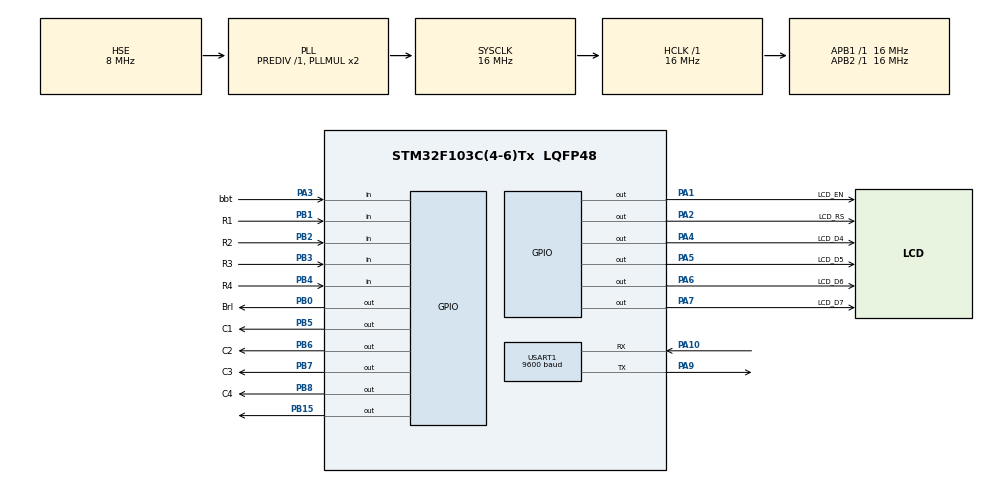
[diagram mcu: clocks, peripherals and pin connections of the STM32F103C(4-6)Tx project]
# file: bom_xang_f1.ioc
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Mcu.Family=STM32F1
Mcu.Name=STM32F103C(4-6)Tx
Mcu.Package=LQFP48
NVIC.PriorityGroup=NVIC_PRIORITYGROUP_4
NVIC.USART1_IRQn=true\:1\:0\:true\:false\:true\:true\:true
PA1.GPIO_Label=LCD_EN
PA1.Signal=GPIO_Output
PA10.Mode=Asynchronous
PA10.Signal=USART1_RX
PA13.Mode=Serial_Wire
PA13.Signal=SYS_JTMS-SWDIO
PA14.Mode=Serial_Wire
PA14.Signal=SYS_JTCK-SWCLK
PA2.GPIO_Label=LCD_RS
PA2.Signal=GPIO_Output
PA3.GPIO_Label=bbt
PA3.Signal=GPIO_Input
PA4.GPIO_Label=LCD_D4
PA4.Signal=GPIO_Output
PA5.GPIO_Label=LCD_D5
PA5.Signal=GPIO_Output
PA6.GPIO_Label=LCD_D6
PA6.Signal=GPIO_Output
PA7.GPIO_Label=LCD_D7
PA7.Signal=GPIO_Output
PA9.Mode=Asynchronous
PA9.Signal=USART1_TX
PB0.GPIO_Label=Brl
PB0.Signal=GPIO_Output
PB1.GPIO_Label=R1
PB1.GPIO_PuPd=GPIO_PULLDOWN
PB1.Signal=GPIO_Input
PB15.Signal=GPIO_Output
PB2.GPIO_Label=R2
PB2.GPIO_PuPd=GPIO_PULLDOWN
PB2.Signal=GPIO_Input
PB3.GPIO_Label=R3
PB3.GPIO_PuPd=GPIO_PULLDOWN
PB3.Signal=GPIO_Input
PB4.GPIO_Label=R4
PB4.GPIO_PuPd=GPIO_PULLDOWN
PB4.Signal=GPIO_Input
PB5.GPIO_Label=C1
PB5.GPIO_ModeDefaultOutputPP=GPIO_MODE_OUTPUT_OD
PB5.GPIO_Speed=GPIO_SPEED_FREQ_HIGH
PB5.PinState=GPIO_PIN_SET
PB5.Signal=GPIO_Output
PB6.GPIO_Label=C2
PB6.GPIO_ModeDefaultOutputPP=GPIO_MODE_OUTPUT_OD
PB6.GPIO_Speed=GPIO_SPEED_FREQ_HIGH
PB6.PinState=GPIO_PIN_SET
PB6.Signal=GPIO_Output
PB7.GPIO_Label=C3
PB7.GPIO_ModeDefaultOutputPP=GPIO_MODE_OUTPUT_OD
PB7.GPIO_Speed=GPIO_SPEED_FREQ_HIGH
PB7.PinState=GPIO_PIN_SET
PB7.Signal=GPIO_Output
PB8.GPIO_Label=C4
PB8.GPIO_ModeDefaultOutputPP=GPIO_MODE_OUTPUT_OD
PB8.GPIO_Speed=GPIO_SPEED_FREQ_HIGH
PB8.PinState=GPIO_PIN_SET
PB8.Signal=GPIO_Output
PD0-OSC_IN.Mode=HSE-External-Oscillator
PD0-OSC_IN.Signal=RCC_OSC_IN
PD1-OSC_OUT.Mode=HSE-External-Oscillator
PD1-OSC_OUT.Signal=RCC_OSC_OUT
ProjectManager.HeapSize=0x200
ProjectManager.StackSize=0x400
ProjectManager.TargetToolchain=MDK-ARM V5
RCC.AHBFreq_Value=16000000
RCC.APB1Freq_Value=16000000
RCC.APB1TimFreq_Value=16000000
RCC.APB2Freq_Value=16000000
RCC.APB2TimFreq_Value=16000000
RCC.HCLKFreq_Value=16000000
RCC.PLLSourceVirtual=RCC_PLLSOURCE_HSE
RCC.SYSCLKFreq_VALUE=16000000
RCC.SYSCLKSource=RCC_SYSCLKSOURCE_PLLCLK
RCC.USBFreq_Value=16000000
USART1.BaudRate=9600
USART1.VirtualMode=VM_ASYNC
board=custom

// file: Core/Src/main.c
/* USER CODE BEGIN Header */
/**
  ******************************************************************************
  * @file           : main.c
  * @brief          : Main program body
  ******************************************************************************
  * @attention
  *
  * <h2><center>&copy; Copyright (c) 2021 STMicroelectronics.
  * All rights reserved.</center></h2>
  *
  * This software component is licensed by ST under BSD 3-Clause license,
  * the "License"; You may not use this file except in compliance with the
  * License. You may obtain a copy of the License at:
  *                        opensource.org/licenses/BSD-3-Clause
  *
  ******************************************************************************
  */
/* USER CODE END Header */
#include "main.h"

/* USER CODE BEGIN Includes */
//#include "LCD.h"
#include "stdio.h"
#include "lcd_txt.h"
/* USER CODE END Includes */

UART_HandleTypeDef huart1;

/* USER CODE BEGIN PV */
uint8_t numkey, row, flag_lit = 255, flag_tien= 255, flag_gia= 255,flag_lban = 0;
uint32_t gia, tien,thanhtien, mqtt_tien ;
char buffer[20];
float lit;
float count_lit;
float lit_ban;

/* USER CODE END PV */

void SystemClock_Config(void);
static void MX_GPIO_Init(void);
static void MX_USART1_UART_Init(void);
/* USER CODE BEGIN PFP */
void matrix(void);
/* USER CODE END PFP */

/* USER CODE BEGIN 0 */
unsigned char tong_tien[20];
unsigned char tong_lit[20];
unsigned char mqtt[50];
/* USER CODE END 0 */

int main(void)
{

  /* MCU Configuration--------------------------------------------------------*/

  /* Reset of all peripherals, Initializes the Flash interface and the Systick. */
  HAL_Init();

  /* Configure the system clock */
  SystemClock_Config();

  /* Initialize all configured peripherals */
  MX_GPIO_Init();
  MX_USART1_UART_Init();
  /* USER CODE BEGIN 2 */
	lcd_init();
	lcd_puts(0,0,(int8_t*) "Nhap Gia 1 Lit");
	HAL_GPIO_WritePin(Brl_GPIO_Port,Brl_Pin, GPIO_PIN_SET);

  /* USER CODE END 2 */

  /* Infinite loop */
  /* USER CODE BEGIN WHILE */
  while (1)
  {
		matrix();
		//---------------kiem tra trang thai co bom va so lit can ban--------------------------------
		if ((!HAL_GPIO_ReadPin(bbt_GPIO_Port,bbt_Pin))&&(lit_ban != 0))  // Kiem tra co bom
		{
			HAL_GPIO_WritePin(Brl_GPIO_Port,Brl_Pin,GPIO_PIN_RESET); // mo van va dong co bom xang
		}
		//---------------kiem tra tin hieu tra ve cua bo dong  -------------------------------
		if ((!HAL_GPIO_ReadPin(GPIOB,GPIO_PIN_15))&&(lit_ban != 0))  // Kiem tra bo dong
		{
			count_lit ++;
			lcd_clear();
			//------ kiem tra so lit da ban
			if (count_lit < lit_ban)
			{
				// chua ban du so luong can ban
				lcd_puts(0,0,(int8_t*) "Lit Da Ban");
				sprintf(buffer, "%0.2f", count_lit);
				lcd_puts(1,0,(int8_t*) buffer);

			}else
			{
				// da ban du so luong can ban
				HAL_GPIO_WritePin(Brl_GPIO_Port,Brl_Pin,GPIO_PIN_SET); // khoa van va dong co bom xang
				// hien thi so lit da ban len lcd
				lcd_puts(0,0,(int8_t*) "Lit: ");
				sprintf(buffer, "%0.2f", count_lit);
				lcd_puts(0,5,(int8_t*) buffer);
				// hien thi so tien nguoi dung can tra len lcd
				thanhtien = count_lit * gia;
				lcd_puts(1,0,(int8_t*) "Tien: ");
				sprintf(buffer, "%d", thanhtien);
				lcd_puts(1,6,(int8_t*) buffer);

				// cho gia tri lit can ban ve 0
				lit_ban = 0;
				lit = 0;
				tien = 0;
			}
		}
		if (flag_gia == 0)  // user nhap xong gia
		{
			// hien thi lai gia moi nhap
			lcd_clear();
			lcd_puts(0,0,(int8_t*) "Gia");
			sprintf(buffer, "%d", gia);
			lcd_puts(1,0,(int8_t*) buffer);
			//--------------------
			flag_gia = 255;
			flag_lban = 0;
			HAL_Delay(50);
			// hien thi buoc tiep theo
			lcd_clear();
			lcd_puts(0,0,(int8_t*) "Nhap Tien hoac ");
			lcd_puts(1,0,(int8_t*) "nhap Lit");
		}
		HAL_Delay(50);
		if (flag_tien == 0) // user nhap tien
		{
			// hien thi so tien nguoi dung muon mua
			lcd_clear();
			lcd_puts(0,0,(int8_t*) "Tien");
			sprintf(buffer, "%d", tien); // So tien ng dung muon mua
			lcd_puts(1,0,(int8_t*) buffer);

			flag_tien =255;
			flag_lban = 1;
			count_lit = 0;
		}
		HAL_Delay(50);
		if (flag_lit == 0)  // user nhap lit
		{
			// hien thi so lit nguoi dung muon mua
			lcd_clear();
			lcd_puts(0,0,(int8_t*) "Lit");
			sprintf(buffer, "%0.1f", lit);
			lcd_puts(1,0,(int8_t*) buffer);
			//HAL_UART_Transmit(&huart1,(unsigned char*)buffer,1,0);

			flag_lit =255;
			flag_lban = 1;
			count_lit = 0;
			HAL_Delay(50);
		}
		// da nhap xong gia va so lit hoac tien ma nguoi dung can mua
		if (flag_lban == 1)
		{
			if (!lit)
			{
				// nguoi dung nhap so tien muon mua, tinh so lit can ban
				lit_ban  = (float) tien / (float) gia;
			}else
			{
				// so lit can ban bang so lit nguoi dung muon mua
				lit_ban = lit;
			}

			lcd_clear();
			lcd_puts(0,0,(int8_t*) "Lit Can Ban");
			sprintf(buffer, "%0.1f", lit_ban);
			lcd_puts(1,0,(int8_t*) buffer);
			// gui gia tri len server
			strcpy(tong_lit, "Lit:");
			strcat(tong_lit, buffer);

			// Send data toi ESP qua UART
			mqtt_tien = lit_ban * gia ;
			sprintf(buffer, "%d", mqtt_tien);

			strcpy(tong_tien, "Tien:");
			strcat(tong_tien, buffer);
			strcat(tong_tien, ";");

			strcpy(mqtt, tong_tien);
			strcat(mqtt, tong_lit);
			HAL_UART_Transmit(&huart1,mqtt,sizeof(mqtt),HAL_MAX_DELAY);

			flag_lban = 0;
			lcd_clear();
		}

    /* USER CODE END WHILE */

  }

}

void SystemClock_Config(void)
{
  RCC_OscInitTypeDef RCC_OscInitStruct = {0};
  RCC_ClkInitTypeDef RCC_ClkInitStruct = {0};

  /** Initializes the RCC Oscillators according to the specified parameters
  * in the RCC_OscInitTypeDef structure.
  */
  RCC_OscInitStruct.OscillatorType = RCC_OSCILLATORTYPE_HSE;
  RCC_OscInitStruct.HSEState = RCC_HSE_ON;
  RCC_OscInitStruct.HSEPredivValue = RCC_HSE_PREDIV_DIV1;
  RCC_OscInitStruct.HSIState = RCC_HSI_ON;
  RCC_OscInitStruct.PLL.PLLState = RCC_PLL_ON;
  RCC_OscInitStruct.PLL.PLLSource = RCC_PLLSOURCE_HSE;
  RCC_OscInitStruct.PLL.PLLMUL = RCC_PLL_MUL2;
  if (HAL_RCC_OscConfig(&RCC_OscInitStruct) != HAL_OK)
  {
    Error_Handler();
  }
  /** Initializes the CPU, AHB and APB buses clocks
  */
  RCC_ClkInitStruct.ClockType = RCC_CLOCKTYPE_HCLK|RCC_CLOCKTYPE_SYSCLK
                              |RCC_CLOCKTYPE_PCLK1|RCC_CLOCKTYPE_PCLK2;
  RCC_ClkInitStruct.SYSCLKSource = RCC_SYSCLKSOURCE_PLLCLK;
  RCC_ClkInitStruct.AHBCLKDivider = RCC_SYSCLK_DIV1;
  RCC_ClkInitStruct.APB1CLKDivider = RCC_HCLK_DIV1;
  RCC_ClkInitStruct.APB2CLKDivider = RCC_HCLK_DIV1;

  if (HAL_RCC_ClockConfig(&RCC_ClkInitStruct, FLASH_LATENCY_0) != HAL_OK)
  {
    Error_Handler();
  }
}

static void MX_USART1_UART_Init(void)
{

  huart1.Instance = USART1;
  huart1.Init.BaudRate = 9600;
  huart1.Init.WordLength = UART_WORDLENGTH_8B;
  huart1.Init.StopBits = UART_STOPBITS_1;
  huart1.Init.Parity = UART_PARITY_NONE;
  huart1.Init.Mode = UART_MODE_TX_RX;
  huart1.Init.HwFlowCtl = UART_HWCONTROL_NONE;
  huart1.Init.OverSampling = UART_OVERSAMPLING_16;
  if (HAL_UART_Init(&huart1) != HAL_OK)
  {
    Error_Handler();
  }

}

static void MX_GPIO_Init(void)
{
  GPIO_InitTypeDef GPIO_InitStruct = {0};

  /* GPIO Ports Clock Enable */
  __HAL_RCC_GPIOD_CLK_ENABLE();
  __HAL_RCC_GPIOA_CLK_ENABLE();
  __HAL_RCC_GPIOB_CLK_ENABLE();

  /*Configure GPIO pin Output Level */
  HAL_GPIO_WritePin(GPIOA, LCD_EN_Pin|LCD_RS_Pin|LCD_D4_Pin|LCD_D5_Pin
                          |LCD_D6_Pin|LCD_D7_Pin, GPIO_PIN_RESET);

  /*Configure GPIO pin Output Level */
  HAL_GPIO_WritePin(GPIOB, Brl_Pin|GPIO_PIN_15, GPIO_PIN_SET);

  /*Configure GPIO pin Output Level */
  HAL_GPIO_WritePin(GPIOB, C1_Pin|C2_Pin|C3_Pin|C4_Pin, GPIO_PIN_SET);

  /*Configure GPIO pins : LCD_EN_Pin LCD_RS_Pin LCD_D4_Pin LCD_D5_Pin
                           LCD_D6_Pin LCD_D7_Pin */
  GPIO_InitStruct.Pin = LCD_EN_Pin|LCD_RS_Pin|LCD_D4_Pin|LCD_D5_Pin
                          |LCD_D6_Pin|LCD_D7_Pin;
  GPIO_InitStruct.Mode = GPIO_MODE_OUTPUT_PP;
  GPIO_InitStruct.Pull = GPIO_NOPULL;
  GPIO_InitStruct.Speed = GPIO_SPEED_FREQ_LOW;
  HAL_GPIO_Init(GPIOA, &GPIO_InitStruct);

  /*Configure GPIO pin : bbt_Pin */
  GPIO_InitStruct.Pin = bbt_Pin;
  GPIO_InitStruct.Mode = GPIO_MODE_INPUT;
  GPIO_InitStruct.Pull = GPIO_NOPULL;
  HAL_GPIO_Init(bbt_GPIO_Port, &GPIO_InitStruct);

  /*Configure GPIO pins : Brl_Pin PB15 */
  GPIO_InitStruct.Pin = Brl_Pin|GPIO_PIN_15;
  GPIO_InitStruct.Mode = GPIO_MODE_OUTPUT_PP;
  GPIO_InitStruct.Pull = GPIO_NOPULL;
  GPIO_InitStruct.Speed = GPIO_SPEED_FREQ_LOW;
  HAL_GPIO_Init(GPIOB, &GPIO_InitStruct);

  /*Configure GPIO pins : R1_Pin R2_Pin R3_Pin R4_Pin */
  GPIO_InitStruct.Pin = R1_Pin|R2_Pin|R3_Pin|R4_Pin;
  GPIO_InitStruct.Mode = GPIO_MODE_INPUT;
  GPIO_InitStruct.Pull = GPIO_PULLDOWN;
  HAL_GPIO_Init(GPIOB, &GPIO_InitStruct);

  /*Configure GPIO pins : C1_Pin C2_Pin C3_Pin C4_Pin */
  GPIO_InitStruct.Pin = C1_Pin|C2_Pin|C3_Pin|C4_Pin;
  GPIO_InitStruct.Mode = GPIO_MODE_OUTPUT_OD;
  GPIO_InitStruct.Pull = GPIO_PULLDOWN;
  GPIO_InitStruct.Speed = GPIO_SPEED_FREQ_HIGH;
  HAL_GPIO_Init(GPIOB, &GPIO_InitStruct);

}

/* USER CODE BEGIN 4 */

/*
		ham quet ban phim
*/
void matrix(void)
{
	//-------------quet hang 1
		HAL_GPIO_WritePin(R1_GPIO_Port, R1_Pin, GPIO_PIN_RESET);
		HAL_GPIO_WritePin(R2_GPIO_Port, R2_Pin, GPIO_PIN_SET);
		HAL_GPIO_WritePin(R3_GPIO_Port, R3_Pin, GPIO_PIN_SET);
		HAL_GPIO_WritePin(R4_GPIO_Port, R4_Pin, GPIO_PIN_SET);
		HAL_Delay(1);
	// -- so 7
		if (!HAL_GPIO_ReadPin(C1_GPIO_Port, C1_Pin))
		{
			lcd_puts(1,row, (int8_t*) "7");
			numkey = 1;
			if(flag_gia == 1)
			{
				gia = gia * 10 + 7;
			}else if (flag_tien == 1)
			{
				tien = tien *10 +7;
			}else if (flag_lit == 1)
			{
				lit = lit *10 +7;
			}
			row++;
		}
		// -- so 9
		if (!HAL_GPIO_ReadPin(C2_GPIO_Port, C2_Pin)){

			lcd_puts(1,row, (int8_t*) "8");
			//lcd_print(2,row,"8");
			numkey = 2;
			if(flag_gia == 1)
			{
				gia = gia * 10 + 8;
			}else if (flag_tien == 1)
			{
				tien = tien *10 +8;
			}else if (flag_lit == 1)
			{
				lit = lit *10 +8;
			}
			row++;
		}
		// -- so 9
		if (!HAL_GPIO_ReadPin(C3_GPIO_Port, C3_Pin)){
			lcd_puts(1,row, (int8_t*) "9");
			row++;
			numkey = 3;
			if(flag_gia == 1)
			{
				gia = gia * 10 + 9;
			}else if (flag_tien == 1)
			{
				tien = tien *10 +9;
			}else if (flag_lit == 1)
			{
				lit = lit *10 +9;
			}
		}
		// -- so L
		if (!HAL_GPIO_ReadPin(C4_GPIO_Port, C4_Pin)){
			lcd_clear();
			row = 0;
			lcd_puts(0,0,(int8_t *) "Lit");
			numkey = 4;
			flag_lit = 1;
			flag_gia =	255;
			flag_tien = 255;
			tien = 0;
		}
		HAL_GPIO_WritePin(C1_GPIO_Port, C1_Pin, GPIO_PIN_SET);
		HAL_GPIO_WritePin(C2_GPIO_Port, C2_Pin, GPIO_PIN_SET);
		HAL_GPIO_WritePin(C3_GPIO_Port, C3_Pin, GPIO_PIN_SET);
		HAL_GPIO_WritePin(C4_GPIO_Port, C4_Pin, GPIO_PIN_SET);

		//---------------quet hang 2
		HAL_GPIO_WritePin(R1_GPIO_Port, R1_Pin, GPIO_PIN_SET);
		HAL_GPIO_WritePin(R2_GPIO_Port, R2_Pin, GPIO_PIN_RESET);
		HAL_GPIO_WritePin(R3_GPIO_Port, R3_Pin, GPIO_PIN_SET);
		HAL_GPIO_WritePin(R4_GPIO_Port, R4_Pin, GPIO_PIN_SET);
		HAL_Delay(1);
		// -- so 4
		if (!HAL_GPIO_ReadPin(C1_GPIO_Port, C1_Pin)){
			lcd_puts(1,row, (int8_t*) "4");
			row++;
			numkey = 5;
			if(flag_gia == 1)
			{
				gia = gia * 10 + 4;
			}else if (flag_tien == 1)
			{
				tien = tien *10 +4;
			}else if (flag_lit == 1)
			{
				lit = lit *10 +4;
			}
		}
		// -- so 5
		if (!HAL_GPIO_ReadPin(C2_GPIO_Port, C2_Pin)){
			lcd_puts(1,row, (int8_t*) "5");
			row++;
			numkey = 6;
			if(flag_gia == 1)
			{
				gia = gia * 10 + 5;
			}else if (flag_tien == 1)
			{
				tien = tien *10 +5;
			}else if (flag_lit == 1)
			{
				lit = lit *10 +5;
			}
		}
		// -- so 6
		if (!HAL_GPIO_ReadPin(C3_GPIO_Port, C3_Pin)){
			lcd_puts(1,row, (int8_t*) "6");
			row++;
			numkey = 7;
			if(flag_gia == 1)
			{
				gia = gia * 10 + 6;
			}else if (flag_tien == 1)
			{
				tien = tien *10 +6;
			}else if (flag_lit == 1)
			{
				lit = lit *10 +6;
			}
		}
		// -- so T
		if (!HAL_GPIO_ReadPin(C4_GPIO_Port, C4_Pin)){
			lcd_clear();
			lcd_puts(0,0, (int8_t*) "Tien");
			row = 0;
			numkey = 8;
			flag_tien = 1;
			flag_gia =255;
			flag_lit = 255;
			lit =0;
		}
		HAL_GPIO_WritePin(C1_GPIO_Port, C1_Pin, GPIO_PIN_SET);
		HAL_GPIO_WritePin(C2_GPIO_Port, C2_Pin, GPIO_PIN_SET);
		HAL_GPIO_WritePin(C3_GPIO_Port, C3_Pin, GPIO_PIN_SET);
		HAL_GPIO_WritePin(C4_GPIO_Port, C4_Pin, GPIO_PIN_SET);

		// ---------quet hang 3
		HAL_GPIO_WritePin(R1_GPIO_Port, R1_Pin, GPIO_PIN_SET);
		HAL_GPIO_WritePin(R2_GPIO_Port, R2_Pin, GPIO_PIN_SET);
		HAL_GPIO_WritePin(R3_GPIO_Port, R3_Pin, GPIO_PIN_RESET);
		HAL_GPIO_WritePin(R4_GPIO_Port, R4_Pin, GPIO_PIN_SET);
		HAL_Delay(1);
		// -- so 1
		if (!HAL_GPIO_ReadPin(C1_GPIO_Port, C1_Pin)){
			lcd_puts(1,row, (int8_t*) "1");
			row++;
			numkey = 9;
			if(flag_gia == 1)
			{
				gia = gia * 10 + 1;
			}else if (flag_tien == 1)
			{
				tien = tien *10 +1;
			}else if (flag_lit == 1)
			{
				lit = lit *10 +1;
			}
		}
		// -- so 2
		if (!HAL_GPIO_ReadPin(C2_GPIO_Port, C2_Pin)){
			lcd_puts(1,row, (int8_t*) "2");
			row++;
			numkey = 10;
			if(flag_gia == 1)
			{
				gia = gia * 10 + 2;
			}else if (flag_tien == 1)
			{
				tien = tien *10 +2;
			}else if (flag_lit == 1)
			{
				lit = lit *10 +2;
			}
		}
		// -- so 3
		if (!HAL_GPIO_ReadPin(C3_GPIO_Port, C3_Pin)){
			lcd_puts(1,row, (int8_t*) "3");
			row++;
			numkey = 11;
			if(flag_gia == 1)
			{
				gia = gia * 10 + 3;
			}else if (flag_tien == 1)
			{
				tien = tien *10 +3;
			}else if (flag_lit == 1)
			{
				lit = lit *10 +3;
			}
		}
		// -- so G
		if (!HAL_GPIO_ReadPin(C4_GPIO_Port, C4_Pin)){
			lcd_clear();
			row = 0;
			lcd_puts(0,0, (int8_t*) "Gia");
			numkey = 12;
			flag_gia = 1;
			flag_lit = 255;
			flag_tien = 255;
		}

		HAL_GPIO_WritePin(C1_GPIO_Port, C1_Pin, GPIO_PIN_SET);
		HAL_GPIO_WritePin(C2_GPIO_Port, C2_Pin, GPIO_PIN_SET);
		HAL_GPIO_WritePin(C3_GPIO_Port, C3_Pin, GPIO_PIN_SET);
		HAL_GPIO_WritePin(C4_GPIO_Port, C4_Pin, GPIO_PIN_SET);

		//----------quet hang 4

		HAL_GPIO_WritePin(R1_GPIO_Port, R1_Pin, GPIO_PIN_SET);
		HAL_GPIO_WritePin(R2_GPIO_Port, R2_Pin, GPIO_PIN_SET);
		HAL_GPIO_WritePin(R3_GPIO_Port, R3_Pin, GPIO_PIN_SET);
		HAL_GPIO_WritePin(R4_GPIO_Port, R4_Pin, GPIO_PIN_RESET);
		HAL_Delay(1);
		// -- so . ( chua dung)
		if (!HAL_GPIO_ReadPin(C1_GPIO_Port, C1_Pin)){
			lcd_puts(1,row, (int8_t*) ".");
			row++;
			numkey = 13;
		}
		// -- so 0
		if (!HAL_GPIO_ReadPin(C2_GPIO_Port, C2_Pin)){
			lcd_puts(1,row, (int8_t*) "0");
			row++;
			numkey = 14;
			if(flag_gia == 1)
			{
				gia = gia * 10;
			}else if (flag_tien == 1)
			{
				tien = tien *10;
			}else if (flag_lit == 1)
			{
				lit = lit *10;
			}
		}
		// --so OK
		if (!HAL_GPIO_ReadPin(C3_GPIO_Port, C3_Pin)){
			lcd_clear();
			numkey = 15;	// phim OK
			if(flag_gia == 1)
			{
				flag_gia = 0;
			}
			if(flag_lit == 1)
			{
				flag_lit = 0;
			}
			if(flag_tien == 1)
			{
				flag_tien = 0;
			}
		}
		// -- so ESC
		if (!HAL_GPIO_ReadPin(C4_GPIO_Port, C4_Pin)){
			lcd_clear();
			numkey = 16;  // Phim ESC - Cancel het cac flag
			lit = 0;
			gia = 0;
			tien = 0;
			flag_gia = 255;
			flag_lit = 255;
			flag_tien = 255;
			lcd_puts(0,0,(int8_t*) "Nhap Gia 1 Lit");
		}
		HAL_GPIO_WritePin(C1_GPIO_Port, C1_Pin, GPIO_PIN_SET);
		HAL_GPIO_WritePin(C2_GPIO_Port, C2_Pin, GPIO_PIN_SET);
		HAL_GPIO_WritePin(C3_GPIO_Port, C3_Pin, GPIO_PIN_SET);
		HAL_GPIO_WritePin(C4_GPIO_Port, C4_Pin, GPIO_PIN_SET);

}
/* USER CODE END 4 */

void Error_Handler(void)
{
  __disable_irq();
  while (1)
  {
  }
}

/************************ (C) COPYRIGHT STMicroelectronics *****END OF FILE****/
